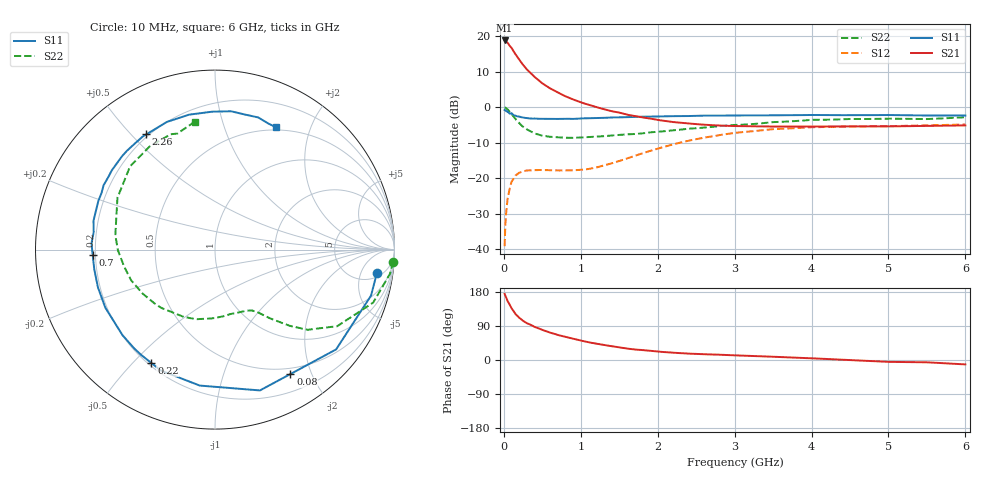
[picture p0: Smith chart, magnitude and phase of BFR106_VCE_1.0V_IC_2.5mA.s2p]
! Infineon Technologies  Discrete & RF Semiconductors
! BFR106
! VCE =  1.0 V,  IC =  2.5 mA
! Common Emitter S-Parameters:  Nov 2015
# GHz  S  MA  R  50
!  f  S11  S21  S12  S22
! GHz  MAG  ANG  MAG  ANG  MAG  ANG  MAG  ANG
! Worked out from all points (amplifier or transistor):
!   210 points, 10 MHz to 6 GHz, reference 50 ohm
!   highest |S21| = 18.8 dB at 10 MHz (marker M1)
!   |S21| within 3 dB of that: start of sweep to 125.1 MHz
!   unconditionally stable (mu >= 1): 718.2 MHz to end of sweep
!   at 185 MHz: K = 0.28, MSG = 16.3 dB, |S12| = -18.7 dB
!   at 1.52 GHz: K = 1.26, MAG = 3.6 dB, |S12| = -15.0 dB
!   at 6 GHz: K = 1.03, MAG = -1.1 dB, |S12| = -4.9 dB
!   S11 on the Smith chart (normalised r, x): 10 MHz: 6, -10; 80 MHz: 0.42, -1.70; 220 MHz: 0.21, -0.57; 700 MHz: 0.19, -0.02; 2.26 GHz: 0.19, +0.55; 6 GHz: 0.47, +1.52
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0.01  0.9114 -8.2  8.704 174.3  0.011 85.8  0.9941 -3.9
0.02  0.9064 -16.4  8.61 169.9  0.0223 82.7  0.9849 -7.8
0.05  0.8744 -39.5  8.052 154.9  0.0522 68.2  0.9295 -18.5
0.08  0.8106 -58.8  7.23 144.4  0.0735 56.9  0.848 -26.2
0.1  0.8236 -72.3  6.841 136.2  0.0887 52.5  0.8035 -32.1
0.15  0.7623 -96.4  5.593 121.2  0.1085 40.9  0.6825 -40.9
0.2  0.7382 -114.1  4.683 111.4  0.1191 34.2  0.5938 -45.6
0.22  0.7246 -119.3  4.371 108.4  0.1214 32.2  0.5667 -46.9
0.26  0.7113 -129.2  3.819 102.0  0.1257 28.7  0.5184 -49.6
0.3  0.702 -137.2  3.388 97.1  0.1281 26.3  0.4857 -51.6
0.4  0.6915 -152.1  2.66 87.3  0.13 23.0  0.4259 -55.4
0.5  0.6853 -162.1  2.165 79.2  0.1301 21.7  0.3961 -58.8
0.7  0.6825 -177.5  1.61 66.1  0.1282 23.7  0.3764 -67.5
0.8  0.6888 177.0  1.423 60.8  0.1286 26.2  0.3711 -72.3
1.02  0.6957 165.6  1.15 50.4  0.1315 34.0  0.3748 -83.5
1.4  0.7168 150.0  0.878 36.5  0.1609 47.7  0.4002 -104.4
2.02  0.7395 128.4  0.656 21.8  0.2639 52.4  0.4523 -139.3
2.26  0.7474 120.8  0.609 18.6  0.31 49.7  0.4777 -152.2
3.1  0.7644 99.0  0.54 11.6  0.4439 33.6  0.5662 167.6
4.1  0.7741 82.2  0.534 3.6  0.5231 14.3  0.6635 132.8
5.1  0.7719 71.0  0.537 -5.1  0.5426 0.4  0.6865 110.4
6  0.7618 63.4  0.553 -11.6  0.5693 -9.0  0.7212 99.0
